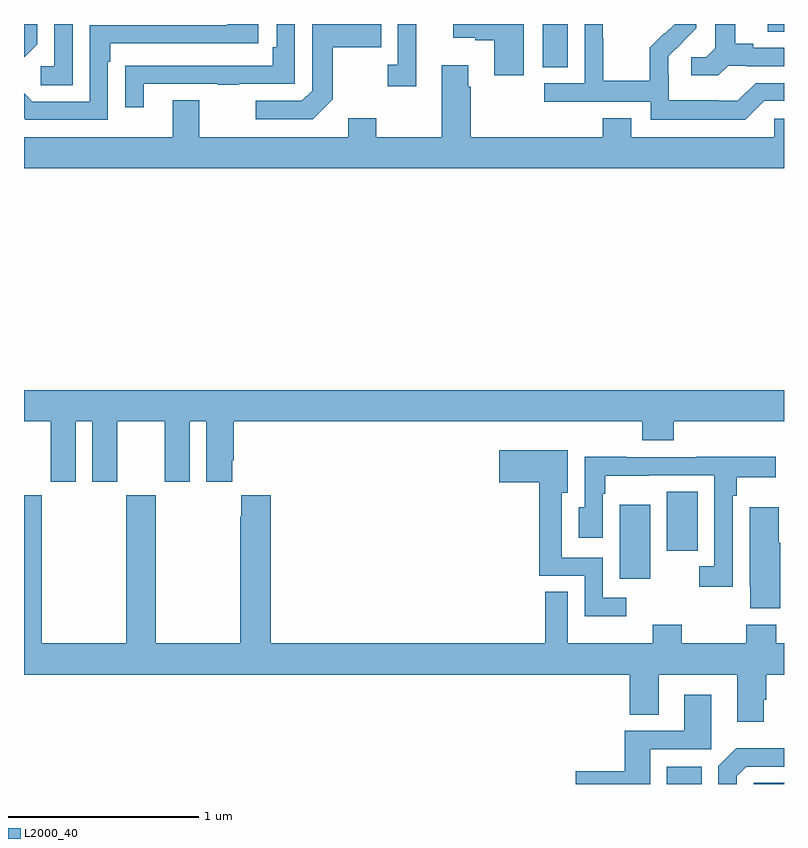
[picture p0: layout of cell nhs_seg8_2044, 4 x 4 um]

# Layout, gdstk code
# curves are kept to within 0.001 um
import gdstk
lib = gdstk.Library(unit=1e-6, precision=1e-09)
def R(c, l, rs):  # rectangles x0, y0, x1, y1
    for r in rs: c.add(gdstk.rectangle(r[:2], r[2:], *l))
def P(c, l, *ps):  # polygons
    for p in ps: c.add(gdstk.Polygon(p, *l))
L2000_40 = (2000, 40)

nhs_seg8_2044 = lib.new_cell('nhs_seg8_2044')
R(nhs_seg8_2044, L2000_40, [(242.384,1139.9,242.566,1139.992), (242.841,1139.9,243,1139.906), (242.135,1140.98,242.296,1141.369), (242.384,1141.128,242.545,1141.439), (241.73,1143.673,241.861,1143.9), (242.915,1143.859,243,1143.9)])
P(nhs_seg8_2044, L2000_40, [(242.895,1143.495),(243,1143.495),(243,1143.588),(242.85,1143.588),(242.757,1143.495),(242.657,1143.495),(242.657,1143.499),(242.394,1143.499),(242.394,1143.633),(242.392,1143.633),(242.392,1143.73),(242.538,1143.878),(242.538,1143.9),(242.424,1143.9),(242.373,1143.849),(242.37,1143.852),(242.293,1143.775),(242.293,1143.601),(242.049,1143.601),(242.049,1143.824),(242.046,1143.824),(242.046,1143.9),(241.95,1143.9),(241.95,1143.588),(241.737,1143.588),(241.737,1143.492),(242.298,1143.492),(242.298,1143.395),(242.795,1143.395)],
  [(239.07,1143.794),(239.07,1143.9),(239,1143.9),(239,1143.724)],
  [(239.256,1143.9),(239.16,1143.9),(239.16,1143.678),(239.088,1143.678),(239.088,1143.577),(239.256,1143.577)],
  [(239.442,1143.701),(239.455,1143.701),(239.455,1143.798),(240.232,1143.798),(240.232,1143.9),(240.071,1143.9),(240.071,1143.894),(239.346,1143.894),(239.346,1143.492),(239.043,1143.492),(239,1143.535),(239,1143.403),(239.007,1143.396),(239.442,1143.396)],
  [(239.629,1143.585),(240.019,1143.585),(240.019,1143.58),(240.131,1143.58),(240.131,1143.585),(240.426,1143.585),(240.426,1143.9),(240.33,1143.9),(240.33,1143.778),(240.31,1143.778),(240.31,1143.681),(239.635,1143.681),(239.635,1143.68),(239.533,1143.68),(239.533,1143.462),(239.629,1143.462)],
  [(241.63,1143.9),(241.26,1143.9),(241.26,1143.827),(241.376,1143.827),(241.376,1143.815),(241.475,1143.815),(241.475,1143.63),(241.63,1143.63)],
  [(242.706,1143.681),(242.8,1143.681),(242.8,1143.678),(243,1143.678),(243,1143.774),(242.839,1143.774),(242.839,1143.797),(242.743,1143.797),(242.743,1143.9),(242.639,1143.9),(242.639,1143.773),(242.592,1143.726),(242.511,1143.726),(242.511,1143.629),(242.654,1143.629)],
  [(240.625,1143.505),(240.625,1143.778),(240.881,1143.778),(240.881,1143.9),(240.516,1143.9),(240.516,1143.549),(240.462,1143.495),(240.219,1143.495),(240.219,1143.399),(240.519,1143.399)],
  [(241.064,1143.9),(240.966,1143.9),(240.966,1143.686),(240.915,1143.686),(240.915,1143.573),(241.064,1143.573)],
  [(243,1143.402),(242.949,1143.402),(242.949,1143.304),(242.197,1143.304),(242.197,1143.403),(242.045,1143.403),(242.045,1143.304),(241.352,1143.304),(241.352,1143.569),(241.339,1143.569),(241.339,1143.682),(241.199,1143.682),(241.199,1143.304),(240.855,1143.304),(240.855,1143.403),(240.707,1143.403),(240.707,1143.304),(239.923,1143.304),(239.923,1143.499),(239.783,1143.499),(239.783,1143.304),(239,1143.304),(239,1143.14),(243,1143.14)],
  [(239.272,1141.808),(239.36,1141.808),(239.36,1141.491),(239.491,1141.491),(239.491,1141.808),(239.741,1141.808),(239.741,1141.491),(239.872,1141.491),(239.872,1141.808),(239.96,1141.808),(239.96,1141.491),(240.097,1141.491),(240.097,1141.603),(240.104,1141.603),(240.104,1141.808),(242.255,1141.808),(242.255,1141.709),(242.42,1141.709),(242.42,1141.808),(243,1141.808),(243,1141.972),(239,1141.972),(239,1141.808),(239.141,1141.808),(239.141,1141.491),(239.272,1141.491)],
  [(242.17,1140.879),(242.046,1140.879),(242.046,1141.092),(241.831,1141.092),(241.831,1141.433),(241.861,1141.433),(241.861,1141.657),(241.5,1141.657),(241.5,1141.487),(241.713,1141.487),(241.713,1140.996),(241.95,1140.996),(241.95,1140.782),(242.17,1140.782)],
  [(242.73,1141.418),(242.75,1141.418),(242.75,1141.514),(242.956,1141.514),(242.956,1141.622),(242.537,1141.622),(242.537,1141.62),(242.171,1141.62),(242.171,1141.622),(241.95,1141.622),(241.95,1141.356),(241.919,1141.356),(241.919,1141.197),(242.046,1141.197),(242.046,1141.427),(242.059,1141.427),(242.059,1141.523),(242.288,1141.523),(242.288,1141.524),(242.634,1141.524),(242.634,1141.047),(242.553,1141.047),(242.553,1140.939),(242.73,1140.939)],
  [(242.893,1140.343),(242.906,1140.343),(242.906,1140.476),(243,1140.476),(243,1140.64),(242.96,1140.64),(242.96,1140.739),(242.8,1140.739),(242.8,1140.64),(242.463,1140.64),(242.463,1140.739),(242.308,1140.739),(242.308,1140.64),(241.861,1140.64),(241.861,1140.911),(241.743,1140.911),(241.743,1140.64),(240.299,1140.64),(240.299,1141.42),(240.143,1141.42),(240.143,1141.307),(240.139,1141.307),(240.139,1140.64),(239.694,1140.64),(239.694,1141.42),(239.539,1141.42),(239.539,1140.64),(239.094,1140.64),(239.094,1141.42),(239,1141.42),(239,1140.476),(242.189,1140.476),(242.189,1140.265),(242.341,1140.265),(242.341,1140.476),(242.753,1140.476),(242.753,1140.228),(242.893,1140.228)],
  [(242.98,1141.17),(242.973,1141.17),(242.973,1141.357),(242.819,1141.357),(242.819,1140.942),(242.822,1140.942),(242.822,1140.824),(242.98,1140.824)],
  [(242.296,1140.084),(242.617,1140.084),(242.617,1140.37),(242.474,1140.37),(242.474,1140.18),(242.162,1140.18),(242.162,1139.966),(241.905,1139.966),(241.905,1139.9),(242.296,1139.9)],
  [(242.751,1139.94),(242.802,1139.991),(243,1139.991),(243,1140.088),(242.749,1140.088),(242.655,1139.994),(242.655,1139.9),(242.751,1139.9)])

lib.write_gds('nhs_seg8_2044.gds')
